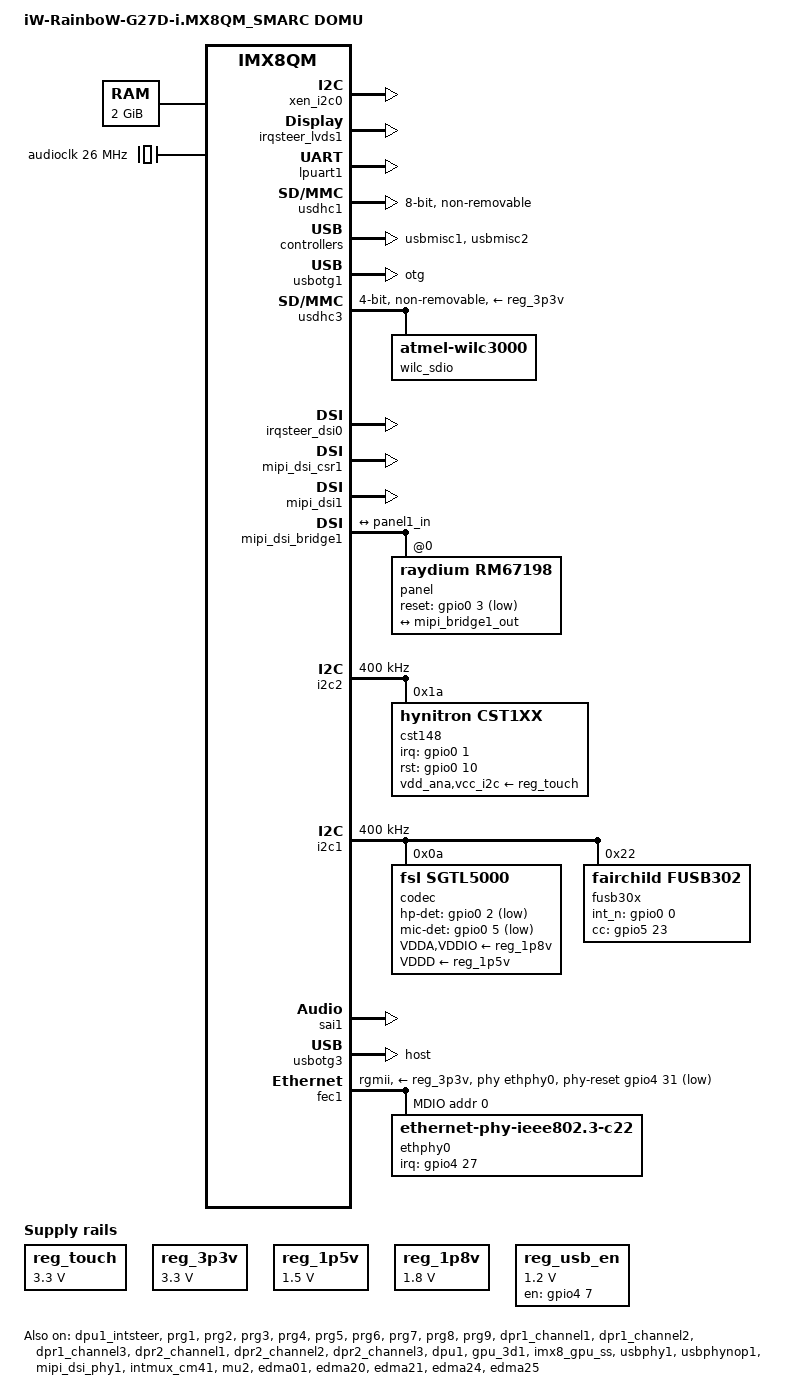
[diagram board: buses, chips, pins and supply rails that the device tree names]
/*
 * Copyright 2018 NXP
 *
 * This program is free software; you can redistribute it and/or
 * modify it under the terms of the GNU General Public License
 * as published by the Free Software Foundation; either version 2
 * of the License, or (at your option) any later version.
 *
 * This program is distributed in the hope that it will be useful,
 * but WITHOUT ANY WARRANTY; without even the implied warranty of
 * MERCHANTABILITY or FITNESS FOR A PARTICULAR PURPOSE.  See the
 * GNU General Public License for more details.
 */

/dts-v1/;
#include <dt-bindings/interrupt-controller/arm-gic.h>
#include <dt-bindings/clock/imx8qm-clock.h>
#include <dt-bindings/input/input.h>
#include <dt-bindings/soc/imx_rsrc.h>
#include <dt-bindings/soc/imx8_hsio.h>
#include <dt-bindings/soc/imx8_pd.h>
#include <dt-bindings/pinctrl/pads-imx8qm.h>
#include <dt-bindings/gpio/gpio.h>
#include <dt-bindings/thermal/thermal.h>

/ {
	model = "iW-RainboW-G27D-i.MX8QM_SMARC DOMU";
	compatible = "fsl,imx8qm-iwg27m", "fsl,imx8qm", "xen,xenvm-4.10", "xen,xenvm";
	interrupt-parent = <&gic>;
	#address-cells = <0x2>;
	#size-cells = <0x2>;

	/delete-node/ aliases;

	aliases {
		mmc0 = &usdhc1;
		mmc2 = &usdhc3;
		dpu0 = &dpu1;
		dpu1 = &dpu2;
		ethernet0 = &fec1;
		dsi_phy0 = &mipi_dsi_phy1;
		mipi_dsi0 = &mipi_dsi1;
		ldb0 = &ldb1;
		ldb1 = &ldb2;
		usbphy0 = &usbphy1;
		serial1 = &lpuart1;
	};

	cpus {
		#address-cells = <0x2>;
		#size-cells = <0x0>;

		cpu@0 {
			device_type = "cpu";
			compatible = "arm,armv8";
			enable-method = "psci";
			reg = <0x0 0x0>;
		};

		cpu@1 {
			device_type = "cpu";
			compatible = "arm,armv8";
			enable-method = "psci";
			reg = <0x0 0x1>;
		};
                cpu@2 {
                        device_type = "cpu";
                        compatible = "arm,armv8";
                        enable-method = "psci";
                        reg = <0x0 0x2>;
                };

                cpu@3 {
                        device_type = "cpu";
                        compatible = "arm,armv8";
                        enable-method = "psci";
                        reg = <0x0 0x3>;
                };
	};

	psci {
		compatible = "arm,psci-1.0";
		method = "hvc";
	};

	memory@80000000 {
		device_type = "memory";
		/* Will be updated by U-Boot or XEN TOOL */
		reg = <0x00000000 0x80000000 0 0x80000000>;
	};

	/*
	 * The reserved memory will be used when using U-Boot loading android
	 * image. For booting kernel using xl tool, pass args:
	 * cma=960M@2400M-3584M
	 * For the rpmsg_reserved area, need xl tool to create for non-android.
	 */
	reserved-memory {
		#address-cells = <2>;
		#size-cells = <2>;
		ranges;
		passthrough;

		/*
		 * reserved-memory layout
		 * 0x8800_0000 ~ 0x8FFF_FFFF is reserved for M4
		 * Shouldn't be used at A core and Linux side.
		 *
		 */

		rpmsg_reserved: rpmsg@0x90100000 {
			no-map;
			reg = <0 0x90100000 0 0x10000>;
		};

		/* global autoconfigured region for contiguous allocations */
		linux,cma {
			compatible = "shared-dma-pool";
			reusable;
			size = <0 0x3c000000>;
			alloc-ranges = <0 0x96000000 0 0x3c000000>;
			linux,cma-default;
		};
	};

	gic: interrupt-controller@3001000 {
		compatible = "arm,gic-v3";
		#interrupt-cells = <3>;
		#address-cells = <0x0>;
		interrupt-controller;
		redistributor-stride = <0x20000>;
		#redistributor-regions = <0x1>;
		reg = <0x0 0x3001000 0 0x10000>, /* GIC Dist */
		      <0x0 0x3020000 0 0x1000000>; /* GICR */
		interrupts = <GIC_PPI 9 (GIC_CPU_MASK_SIMPLE(6) | IRQ_TYPE_LEVEL_HIGH)>;
		interrupt-parent = <&gic>;
		linux,phandle = <0xfde8>;
		phandle = <0xfde8>;
	};

	timer {
		compatible = "arm,armv8-timer";
		interrupts = <GIC_PPI 13 (GIC_CPU_MASK_SIMPLE(6) | IRQ_TYPE_LEVEL_LOW)>,
			     <GIC_PPI 14 (GIC_CPU_MASK_SIMPLE(6) | IRQ_TYPE_LEVEL_LOW)>,
			     <GIC_PPI 11 (GIC_CPU_MASK_SIMPLE(6) | IRQ_TYPE_LEVEL_LOW)>;
		interrupt-parent = <&gic>;
		clock-frequency = <8000000>;
	};

	hypervisor {
		compatible = "xen,xen-4.11", "xen,xen";
		reg = <0x0 0x38000000 0x0 0x1000000>;
		interrupts = <GIC_PPI 15 (GIC_CPU_MASK_SIMPLE(6) | IRQ_TYPE_LEVEL_LOW)>;
		interrupt-parent = <&gic>;
	};

	passthrough {
		compatible = "simple-bus";
		ranges;
		#address-cells = <2>;
		#size-cells = <2>;

		firmware {
			android {
				compatible = "android,firmware";
				fstab {
					compatible = "android,fstab";
					vendor {
						compatible = "android,vendor";
						/* emmc node which used if androidboot.storage_type=emmc */
						dev_emmc = "/dev/block/platform/passthrough/15b010000.usdhc/by-name/vendor";
						type = "ext4";
						mnt_flags = "ro,barrier=1,inode_readahead_blks=8";
						fsmgr_flags = "wait,slotselect,avb";
					};
				};

				vbmeta {
					/*we need use FirstStageMountVBootV2 if we enable avb*/
					compatible = "android,vbmeta";
					/*parts means the partition witch can be mount in first stage*/
					parts = "vbmeta,boot,system,vendor";
				};
			};
		};

		clk: clk {
			compatible = "fsl,imx8qm-clk";
			#clock-cells = <1>;
			fsl,lpcg_base_offset = <0x00000000 0x00000000>;
		};

		iomuxc: iomuxc {
			compatible = "fsl,imx8qm-iomuxc";
		};

	        clocks {
	                #address-cells = <1>;
	                #size-cells = <0>;
		        audioclk: ext26Mz {
		                compatible = "fixed-clock";
		                clock-frequency = <26000000>;
		                reg=<0>;
		                #clock-cells = <0>;
        	        };
	        };

	        regulators {
	                compatible = "simple-bus";
	                #address-cells = <1>;
	                #size-cells = <0>;

	                reg_touch: regulator@0 {
	                        compatible = "regulator-fixed";
	                        reg = <2>;
	                        regulator-name = "touch-en";
	                        regulator-min-microvolt = <3300000>;
	                        regulator-max-microvolt = <3300000>;
	                        regulator-always-on;
	                };

	                reg_3p3v: 3p3v {
	                        compatible = "regulator-fixed";
	                        regulator-name = "3P3V";
	                        regulator-min-microvolt = <3300000>;
	                        regulator-max-microvolt = <3300000>;
	                        regulator-always-on;
	                        regulator-boot-on;
	                };

	                reg_1p5v: 1p5v {
	                        compatible = "regulator-fixed";
	                        regulator-name = "1P5V";
	                        regulator-min-microvolt = <1500000>;
	                        regulator-max-microvolt = <1500000>;
	                        regulator-always-on;
	                };

	                reg_1p8v: 1p8v {
	                        compatible = "regulator-fixed";
	                        regulator-name = "1P8V";
	                        regulator-min-microvolt = <1800000>;
	                        regulator-max-microvolt = <1800000>;
	                        regulator-always-on;
	                };

	                reg_usb_en: regulator-usb-en {
	                        compatible = "regulator-fixed";
	                        regulator-name = "usb_en";
	                        regulator-min-microvolt = <1200000>;
	                        regulator-max-microvolt = <1200000>;
	                        regulator-type = "voltage";
	                        gpio = <&gpio4 7 GPIO_ACTIVE_HIGH>;
	                        enable-active-high;
	                };

	        };

	        sound {
	                compatible = "fsl,imx-audio-sgtl5000";
	                model = "sgtl5000-audio";
	                ssi-controller = <&sai1>;
	                audio-codec = <&codec>;
	                audio-routing = "MIC_IN", "Mic Jack",
	                                "Mic Jack", "Mic Bias",
	                                "Headphone Jack", "HP_OUT",
	                                "LINE_IN", "Line In Jack";
	        };


		#include "fsl-imx8qm-device.dtsi"

		mu2: mu@5d1d0000 {
			compatible = "fsl,imx8-mu";
			reg = <0x0 0x5d1d0000 0x0 0x10000>;
			interrupts = <GIC_SPI 178 IRQ_TYPE_LEVEL_HIGH>;
			fsl,scu_ap_mu_id = <0>;
			status = "okay";
		};

		usb_lpcg {
			reg = <0x0 0x5b270000 0x0 0x10000>;
		};

                edma01: dma-controller1@5a1f0000 {
                        compatible = "fsl,imx8qm-edma";
                        reg = <0x0 0x5a2e0000 0x0 0x10000>, /* channel14 UART1 rx */
                              <0x0 0x5a2f0000 0x0 0x10000>; /* channel15 UART1 tx */
                        #dma-cells = <3>;
                        dma-channels = <2>;
                        interrupts = <GIC_SPI 436 IRQ_TYPE_LEVEL_HIGH>,
                                     <GIC_SPI 437 IRQ_TYPE_LEVEL_HIGH>;
                        interrupt-names = "edma0-chan14-rx", "edma0-chan15-tx";
                        status = "okay";
                };

                edma20: dma-controller@591f0000 {
                        compatible = "fsl,imx8qm-adma";
                        reg = <0x0 0x59200000 0x0 0x10000>, /* asrc0 */
                                <0x0 0x59210000 0x0 0x10000>,
                                <0x0 0x59220000 0x0 0x10000>,
                                <0x0 0x59230000 0x0 0x10000>,
                                <0x0 0x59240000 0x0 0x10000>,
                                <0x0 0x59250000 0x0 0x10000>;
                        #dma-cells = <3>;
                        shared-interrupt;
                        dma-channels = <6>;
                        interrupts = <GIC_SPI 374 IRQ_TYPE_LEVEL_HIGH>, /* asrc0 */
                                        <GIC_SPI 375 IRQ_TYPE_LEVEL_HIGH>,
                                        <GIC_SPI 376 IRQ_TYPE_LEVEL_HIGH>,
                                        <GIC_SPI 377 IRQ_TYPE_LEVEL_HIGH>,
                                        <GIC_SPI 378 IRQ_TYPE_LEVEL_HIGH>,
                                        <GIC_SPI 379 IRQ_TYPE_LEVEL_HIGH>;
                        interrupt-names = "edma2-chan0-rx", "edma2-chan1-rx", /* asrc0 */
                                        "edma2-chan2-rx", "edma2-chan3-tx",
                                        "edma2-chan4-tx", "edma2-chan5-tx";
                        status = "okay";
                };

                edma21: dma-controller@0x59260000 {
                        compatible = "fsl,imx8qm-adma";
                        reg = <0x0 0x59260000 0x0 0x10000>, /* esai0 rx */
                              <0x0 0x59270000 0x0 0x10000>; /* esai0 tx */
                        #dma-cells = <3>;
                        shared-interrupt;
                        dma-channels = <2>;
                        interrupts = <GIC_SPI 410 IRQ_TYPE_LEVEL_HIGH>, /* esai0 */
                                     <GIC_SPI 410 IRQ_TYPE_LEVEL_HIGH>;
                        interrupt-names = "edma2-chan6-rx", "edma2-chan7-tx"; /* esai0 */
                        status = "okay";
                };

                edma24: dma-controller@0x592c0000 {
                        compatible = "fsl,imx8qm-adma";
                        reg = <0x0 0x592c0000 0x0 0x10000>, /* sai0 rx */
                              <0x0 0x592d0000 0x0 0x10000>; /* sai0 tx */
                        #dma-cells = <3>;
                        shared-interrupt;
                        dma-channels = <2>;
                        interrupts = <GIC_SPI 315 IRQ_TYPE_LEVEL_HIGH>, /* sai0 */
                                     <GIC_SPI 315 IRQ_TYPE_LEVEL_HIGH>;
                        interrupt-names = "edma2-chan12-rx", "edma2-chan13-tx"; /* sai0 */
                        fsl,sc_rsrc_id = <SC_R_DMA_2_CH12>,
                                         <SC_R_DMA_2_CH13>;
                        status = "okay";
                };

	        edma25: dma-controller@0x592e0000 {
	                compatible = "fsl,imx8qm-adma";
	                reg = <0x0 0x592e0000 0x0 0x10000>, /* sai1 rx */
	                      <0x0 0x592f0000 0x0 0x10000>; /* sai1 tx */
	                #dma-cells = <3>;
	                shared-interrupt;
	                dma-channels = <2>;
	                interrupts = <GIC_SPI 317 IRQ_TYPE_LEVEL_HIGH>, /* sai1 */
	                             <GIC_SPI 317 IRQ_TYPE_LEVEL_HIGH>;
	                interrupt-names = "edma2-chan14-rx", "edma2-chan15-tx"; /* sai1 */
	                fsl,sc_rsrc_id = <SC_R_DMA_2_CH14>,
	                                 <SC_R_DMA_2_CH15>;
	                status = "okay";
	        };

                xen_i2c0: xen_i2c@0 {
                        compatible = "xen,i2c";
                        be-adapter = "5a800000.i2c";
                        status = "okay";
                };
/*
                xen_i2c1: xen_i2c@1 {
                        compatible = "xen,i2c";
                        be-adapter = "5a810000.i2c";
                        status = "okay";
                };

                xen_i2c2: xen_i2c@2 {
                        compatible = "xen,i2c";
                        be-adapter = "5a820000.i2c";
                        status = "okay";
                };
*/

	};
};

/delete-node/ &tsens;
/delete-node/ &thermal_zones;
/delete-node/ &rtc;

&display {
	ports = <&dpu1_disp0>, <&dpu1_disp1>;
};

&dpu1_intsteer {
        reg = <0x0 0x56000000 0x0 0x10000>;
        status = "okay";
};

&prg1 {
        reg = <0x0 0x56040000 0x0 0x10000>;
        status = "okay";
};

&prg2 {
        reg = <0x0 0x56050000 0x0 0x10000>;
        status = "okay";
};

&prg3 {
        reg = <0x0 0x56060000 0x0 0x10000>;
        status = "okay";
};

&prg4 {
        reg = <0x0 0x56070000 0x0 0x10000>;
        status = "okay";
};

&prg5 {
        reg = <0x0 0x56080000 0x0 0x10000>;
        status = "okay";
};

&prg6 {
        reg = <0x0 0x56090000 0x0 0x10000>;
        status = "okay";
};

&prg7 {
        reg = <0x0 0x560a0000 0x0 0x10000>;
        status = "okay";
};

&prg8 {
        reg = <0x0 0x560b0000 0x0 0x10000>;
        status = "okay";
};

&prg9 {
        reg = <0x0 0x560c0000 0x0 0x10000>;
        status = "okay";
};

&dpr1_channel1 {
        reg = <0x0 0x560d0000 0x0 0x10000>;
        status = "okay";
};

&dpr1_channel2 {
        reg = <0x0 0x560e0000 0x0 0x10000>;
        status = "okay";
};

&dpr1_channel3 {
        reg = <0x0 0x560f0000 0x0 0x10000>;
        status = "okay";
};

&dpr2_channel1 {
        reg = <0x0 0x56100000 0x0 0x10000>;
        status = "okay";
};

&dpr2_channel2 {
        reg = <0x0 0x56110000 0x0 0x10000>;
        status = "okay";
};

&dpr2_channel3 {
        reg = <0x0 0x56120000 0x0 0x10000>;
        status = "okay";
};

&dpu1 {
        reg = <0x0 0x56180000 0x0 0x40000>;
        status = "okay";

        dpu1_disp0: port@0 {

		dpu1_disp0_hdmi: hdmi-endpoint {
			/delete-property/ remote-endpoint;
		};

        };
        dpu1_disp1: port@1 {
                reg = <1>;

                dpu1_disp1_lvds0: lvds0-endpoint {
                        remote-endpoint = <&ldb1_lvds0>;
                };

                dpu1_disp1_lvds1: lvds1-endpoint {
                        remote-endpoint = <&ldb1_lvds1>;
                };
        };
};

&dpu2_intsteer {
	reg = <0x0 0x57000000 0x0 0x10000>;
	status = "disabled";
};

&prg10 {
	reg = <0x0 0x57040000 0x0 0x10000>;
	status = "disabled";
};

&prg11 {
	reg = <0x0 0x57050000 0x0 0x10000>;
	status = "disabled";
};

&prg12 {
	reg = <0x0 0x57060000 0x0 0x10000>;
	status = "disabled";
};

&prg13 {
	reg = <0x0 0x57070000 0x0 0x10000>;
	status = "disabled";
};

&prg14 {
	reg = <0x0 0x57080000 0x0 0x10000>;
	status = "disabled";
};

&prg15 {
	reg = <0x0 0x57090000 0x0 0x10000>;
	status = "disabled";
};

&prg16 {
	reg = <0x0 0x570a0000 0x0 0x10000>;
	status = "disabled";
};

&prg17 {
	reg = <0x0 0x570b0000 0x0 0x10000>;
	status = "disabled";
};

&prg18 {
	reg = <0x0 0x570c0000 0x0 0x10000>;
	status = "disabled";
};

&dpr3_channel1 {
	reg = <0x0 0x570d0000 0x0 0x10000>;
	status = "disabled";
};

&dpr3_channel2 {
	reg = <0x0 0x570e0000 0x0 0x10000>;
	status = "disabled";
};

&dpr3_channel3 {
	reg = <0x0 0x570f0000 0x0 0x10000>;
	status = "disabled";
};

&dpr4_channel1 {
	reg = <0x0 0x57100000 0x0 0x10000>;
	status = "disabled";
};

&dpr4_channel2 {
	reg = <0x0 0x57110000 0x0 0x10000>;
	status = "disabled";
};

&dpr4_channel3 {
	reg = <0x0 0x57120000 0x0 0x10000>;
	status = "disabled";
};

&dpu2 {
	reg = <0x0 0x57180000 0x0 0x40000>;
	status = "disabled";

	dpu2_disp0: port@0 {
		dpu2_disp0_mipi_dsi: mipi-dsi-endpoint {
			/delete-property/ remote-endpoint;
		};
	};
	dpu2_disp1: port@1 {
		reg = <1>;

		dpu2_disp1_lvds0: lvds0-endpoint {
			remote-endpoint = <&ldb2_lvds0>;
		};

		dpu2_disp1_lvds1: lvds1-endpoint {
			remote-endpoint = <&ldb2_lvds1>;
		};
	};
};

/*
/delete-node/ &hdmi;
/delete-node/ &irqsteer_dsi0;
/delete-node/ &i2c0_mipi_dsi0;
*/

&lvds_region1 {
        reg = <0x0 0x56240000 0x0 0x10000>;
        status = "disabled";
};

&ldb1_phy {
        reg = <0x0 0x56241000 0x0 0x100>;
        status = "disabled";
};

&ldb1 {
        status = "disabled";

        lvds-channel@0 {
                fsl,data-mapping = "jeida";
                fsl,data-width = <24>;
                status = "okay";

                port@1 {
                        reg = <1>;

                        lvds1_out: endpoint {
                                remote-endpoint = <&it6263_1_in>;
                        };
                };
        };
};

&lvds_region2 {
	reg = <0x0 0x57240000 0x0 0x10000>;
	status = "disabled";
};

&ldb2_phy {
	reg = <0x0 0x57241000 0x0 0x100>;
	status = "disabled";
};

&ldb2 {
	status = "disabled";

	lvds-channel@0 {
		fsl,data-mapping = "jeida";
		fsl,data-width = <24>;
		status = "okay";

		port@1 {
			reg = <1>;

			lvds2_out: endpoint {
				remote-endpoint = <&it6263_1_in>;
			};
		};
	};
};

/*
/delete-node/ &lvds0_pwm;
/delete-node/ &dpu1_intsteer;
/delete-node/ &prg1;
/delete-node/ &prg2;
/delete-node/ &prg3;
/delete-node/ &prg4;
/delete-node/ &prg5;
/delete-node/ &prg6;
/delete-node/ &prg7;
/delete-node/ &prg8;
/delete-node/ &prg9;
/delete-node/ &dpr1_channel1;
/delete-node/ &dpr1_channel2;
/delete-node/ &dpr1_channel3;
/delete-node/ &dpr2_channel1;
/delete-node/ &dpr2_channel2;
/delete-node/ &dpr2_channel3;
/delete-node/ &dpu1;
*/

/delete-node/ &irqsteer_dsi1;
/delete-node/ &i2c0_mipi_dsi1;
/delete-node/ &mipi_dsi_csr2;
/delete-node/ &mipi_dsi_phy2;
/delete-node/ &mipi_dsi2;
/delete-node/ &mipi_dsi_bridge2;
/* /delete-node/ &lvds_region1;
/delete-node/ &lvds1_pwm;
*/

/delete-node/ &camera;
/delete-node/ &i2c0;
/* /delete-node/ &i2c1;*/
/* /delete-node/ &i2c2;*/
/delete-node/ &i2c3;
/delete-node/ &i2c4;
/delete-node/ &i2c0_cm40;
/delete-node/ &i2c0_cm41;
/* /delete-node/ &irqsteer_hdmi;*/
/delete-node/ &i2c0_hdmi;

&irqsteer_lvds1 {
	reg = <0x0 0x57240000 0x0 0x1000>;
	/delete-property/ interrupt-parent;
	status = "okay";
};

/delete-node/ &flexcan1;
/delete-node/ &flexcan2;
/delete-node/ &flexcan3;

&i2c1_lvds1 {
	reg = <0x0 0x57247000 0x0 0x1000>;
	status = "disabled";
};

/delete-node/ &irqsteer_lvds0;
/delete-node/ &i2c1_lvds0;
/delete-node/ &irqsteer_csi0;
/delete-node/ &i2c0_mipi_csi0;
/delete-node/ &irqsteer_csi1;
/delete-node/ &i2c0_mipi_csi1;
/delete-node/ &lpspi0;
/delete-node/ &lpuart0;

&lpuart1 { /* BT */
	reg = <0x0 0x5a070000 0 0x1000>;
	dmas = <&edma01 15 0 0>, <&edma01 14 0 1>;
	interrupt-parent = <&gic>;
        pinctrl-names = "default";
        pinctrl-0 = <&pinctrl_lpuart1>;
        device_type = "serial";
        port-number = <1>;
        status = "okay";
};


/delete-node/ &lpuart2;
/delete-node/ &lpuart3;
/delete-node/ &lpuart4;
/delete-node/ &edma0;
/delete-node/ &edma2;
/delete-node/ &edma3;

&gpio0 {
	/delete-property/ power-domains;
	status = "okay";
};
&gpio1 {
	/delete-property/ power-domains;
	status = "okay";
};
&gpio2 {
	/delete-property/ power-domains;
	status = "okay";
};
&gpio3 {
	/delete-property/ power-domains;
	status = "disabled";
};
&gpio4 {
	/delete-property/ power-domains;
	status = "okay";
};
&gpio5 {
	/delete-property/ power-domains;
	status = "okay";
};
&gpio6 {
	/delete-property/ power-domains;
	status = "disabled";
};
&gpio7 {
	/delete-property/ power-domains;
	status = "disabled";
};

/delete-node/ &gpio0_mipi_csi0;
/delete-node/ &gpio0_mipi_csi1;
/delete-node/ &gpt0;
/delete-node/ &pwm0;
/delete-node/ &pwm1;
/delete-node/ &pwm2;
/delete-node/ &pwm3;
/delete-node/ &pwm4;
/delete-node/ &pwm5;
/delete-node/ &pwm6;
/delete-node/ &pwm7;

&gpu_3d1 {
	reg = <0x0 0x54100000 0 0x40000>;
	status = "okay";
};

/delete-node/ &gpu_3d0;

&imx8_gpu_ss {
	/* xen guests have 2GB of low RAM @ 2GB */
	reg = <0x0 0x80000000 0x0 0x80000000>;
	reg-names = "phys_baseaddr";
	cores = <&gpu_3d1>;
	status = "okay";
};

/delete-node/ &mlb;

&usdhc1 {
	compatible = "fsl,imx8qm-usdhc", "fsl,imx6sl-usdhc";
	/*interrupt-parent = <&gic>;*/
	/delete-property/ interrupt-parent;
	reg = <0x0 0x5b010000 0x0 0x10000>;
};

/delete-node/ &usdhc2;
/delete-node/ &fec2;

&usbmisc1 {
	reg = <0x0 0x5b0d0200 0x0 0x200>;
	status = "okay";
};

&usbmisc2 {
	reg = <0x0 0x5b0e0200 0x0 0x200>;
	status = "okay";
};

&usbphy1 {
	reg = <0x0 0x5b100000 0x0 0x200>;
	status = "okay";
};

/delete-node/ &usbh1;

&usbphynop1 {
        status = "okay";
};

/delete-node/ &usbphynop2;

&usbotg1 {
	reg = <0x0 0x5b0d0000 0x0 0x200>;
	interrupt-parent = <&gic>;
};

/delete-node/ &ddr_pmu0;
/delete-node/ &ddr_pmu1;
/delete-node/ &vpu;
/delete-node/ &acm;

&esai0 {
        compatible = "fsl,imx8qm-esai";
        reg = <0x0 0x59010000 0x0 0x10000>;
        interrupts = <GIC_SPI 409 IRQ_TYPE_LEVEL_HIGH>;
        clocks = <&clk IMX8QM_AUD_ESAI_0_IPG>,
                 <&clk IMX8QM_AUD_ESAI_0_EXTAL_IPG>,
                 <&clk IMX8QM_AUD_ESAI_0_IPG>,
                 <&clk IMX8QM_CLK_DUMMY>;
        clock-names = "core", "extal", "fsys", "spba";
        dmas = <&edma21 6 0 1>, <&edma21 7 0 0>;
        dma-names = "rx", "tx";
        power-domains = <&pd_esai0>;
        status = "disabled";
};


/delete-node/ &spdif0;
/* /delete-node/ &sai1;*/
/delete-node/ &sai0;
/delete-node/ &sai_hdmi_rx;
/delete-node/ &sai_hdmi_tx;
/delete-node/ &sai6;
/delete-node/ &sai7;
/delete-node/ &amix;
/delete-node/ &asrc0;
/delete-node/ &asrc1;
/delete-node/ &mqs;
/delete-node/ &flexspi0;

&dma_cap {
	compatible = "dma-capability";
	only-dma-mask32 = <1>;
};

/delete-node/ &hsio;
/delete-node/ &ocotp;
/delete-node/ &pciea;
/delete-node/ &pcieb;
/delete-node/ &sata;

/delete-node/ &intmux_cm40;
/delete-node/ &mu_rpmsg;
/*
/delete-node/ &intmux_cm41;
*/
&rpmsg1{
	/*
	 * 64K for one rpmsg instance:
	 */
	vdev-nums = <1>;
	reg = <0x0 0x90100000 0x0 0x10000>;
	status = "disabled";
};

&mu_rpmsg1 {
	reg = <0x0 0x5d210000 0x0 0x10000>;
};

/delete-node/ &crypto;
/delete-node/ &caam_sm;
/delete-node/ &sc_pwrkey;
/delete-node/ &wdog;
/delete-node/ &wu;

&iomuxc {
	imx8qm-iwg27m {
		pinctrl_usdhc1: usdhc1grp {
			fsl,pins = <
				SC_P_EMMC0_CLK_CONN_EMMC0_CLK		0x06000041
				SC_P_EMMC0_CMD_CONN_EMMC0_CMD		0x00000021
				SC_P_EMMC0_DATA0_CONN_EMMC0_DATA0	0x00000021
				SC_P_EMMC0_DATA1_CONN_EMMC0_DATA1	0x00000021
				SC_P_EMMC0_DATA2_CONN_EMMC0_DATA2	0x00000021
				SC_P_EMMC0_DATA3_CONN_EMMC0_DATA3	0x00000021
				SC_P_EMMC0_DATA4_CONN_EMMC0_DATA4	0x00000021
				SC_P_EMMC0_DATA5_CONN_EMMC0_DATA5	0x00000021
				SC_P_EMMC0_DATA6_CONN_EMMC0_DATA6	0x00000021
				SC_P_EMMC0_DATA7_CONN_EMMC0_DATA7	0x00000021
				SC_P_EMMC0_STROBE_CONN_EMMC0_STROBE	0x06000041
				SC_P_EMMC0_RESET_B_CONN_EMMC0_RESET_B	0x00000021
			>;
		};

		pinctrl_usdhc1_100mhz: usdhc1grp100mhz {
			fsl,pins = <
				SC_P_EMMC0_CLK_CONN_EMMC0_CLK		0x06000040
				SC_P_EMMC0_CMD_CONN_EMMC0_CMD		0x00000020
				SC_P_EMMC0_DATA0_CONN_EMMC0_DATA0	0x00000020
				SC_P_EMMC0_DATA1_CONN_EMMC0_DATA1	0x00000020
				SC_P_EMMC0_DATA2_CONN_EMMC0_DATA2	0x00000020
				SC_P_EMMC0_DATA3_CONN_EMMC0_DATA3	0x00000020
				SC_P_EMMC0_DATA4_CONN_EMMC0_DATA4	0x00000020
				SC_P_EMMC0_DATA5_CONN_EMMC0_DATA5	0x00000020
				SC_P_EMMC0_DATA6_CONN_EMMC0_DATA6	0x00000020
				SC_P_EMMC0_DATA7_CONN_EMMC0_DATA7	0x00000020
				SC_P_EMMC0_STROBE_CONN_EMMC0_STROBE	0x06000040
				SC_P_EMMC0_RESET_B_CONN_EMMC0_RESET_B	0x00000020
			>;
		};

		pinctrl_usdhc1_200mhz: usdhc1grp200mhz {
			fsl,pins = <
				SC_P_EMMC0_CLK_CONN_EMMC0_CLK		0x06000040
				SC_P_EMMC0_CMD_CONN_EMMC0_CMD		0x00000020
				SC_P_EMMC0_DATA0_CONN_EMMC0_DATA0	0x00000020
				SC_P_EMMC0_DATA1_CONN_EMMC0_DATA1	0x00000020
				SC_P_EMMC0_DATA2_CONN_EMMC0_DATA2	0x00000020
				SC_P_EMMC0_DATA3_CONN_EMMC0_DATA3	0x00000020
				SC_P_EMMC0_DATA4_CONN_EMMC0_DATA4	0x00000020
				SC_P_EMMC0_DATA5_CONN_EMMC0_DATA5	0x00000020
				SC_P_EMMC0_DATA6_CONN_EMMC0_DATA6	0x00000020
				SC_P_EMMC0_DATA7_CONN_EMMC0_DATA7	0x00000020
				SC_P_EMMC0_STROBE_CONN_EMMC0_STROBE	0x06000040
				SC_P_EMMC0_RESET_B_CONN_EMMC0_RESET_B	0x00000020
			>;
		};

                pinctrl_usbotg1: usbotg1 {
                        fsl,pins = <
                                SC_P_USB_SS3_TC0_LSIO_GPIO4_IO03                0x00000021
                        >;
                };

                pinctrl_usbotg3: usbotg3 {
                        fsl,pins = <
                                SC_P_USDHC1_RESET_B_LSIO_GPIO4_IO07             0x00000021
                                SC_P_MIPI_DSI1_I2C0_SDA_LSIO_GPIO1_IO21         0x00000021

                        >;
                };

                pinctrl_type_c: usbtypec {
                        fsl,pins = <
                                SC_P_SIM0_CLK_LSIO_GPIO0_IO00                   0x00000021
                                SC_P_USDHC1_STROBE_LSIO_GPIO5_IO23              0x00000021
                        >;
                };

		pinctrl_lvds1_lpi2c1: lvds1lpi2c1grp {
			fsl,pins = <
				SC_P_LVDS1_I2C1_SCL_LVDS1_I2C1_SCL	0xc600004c
				SC_P_LVDS1_I2C1_SDA_LVDS1_I2C1_SDA	0xc600004c
			>;
		};

                pinctrl_lpuart1: lpuart1grp {
                        fsl,pins = <
                                SC_P_UART1_RX_DMA_UART1_RX                      0x06000020
                                SC_P_UART1_TX_DMA_UART1_TX                      0x06000020
                                SC_P_UART1_CTS_B_DMA_UART1_CTS_B                0x06000020
                                SC_P_UART1_RTS_B_DMA_UART1_RTS_B                0x06000020
                        >;
                };

                pinctrl_mipi_dsi: mipidsi {
                        fsl,pins = <
                                SC_P_SIM0_PD_LSIO_GPIO0_IO03                    0x00000021
                        >;
                };

                pinctrl_ts_active_iwg27m: touch {
                        fsl,pins = <
                                SC_P_SIM0_RST_LSIO_GPIO0_IO01                   0x00000021
                                SC_P_M41_I2C0_SCL_LSIO_GPIO0_IO10               0x18300021
                        >;
                };

                pinctrl_sai1: sai1grp {
                        fsl,pins = <
                                SC_P_SAI1_RXD_AUD_SAI1_RXD                      0xc600004c
                                SC_P_SAI1_TXC_AUD_SAI1_TXC                      0xc600004c
                                SC_P_SAI1_TXD_AUD_SAI1_TXD                      0xc600004c
                                SC_P_SAI1_TXFS_AUD_SAI1_TXFS                    0xc600004c
                                SC_P_MCLK_OUT0_AUD_ACM_MCLK_OUT0                0xc600004c
                        >;
                };

                pinctrl_hp_mic_detect: hp_mic_detect {
                        fsl,pins = <
                                SC_P_SIM0_IO_LSIO_GPIO0_IO02                    0x00000021
                                SC_P_SIM0_GPIO0_00_LSIO_GPIO0_IO05              0x00000021
                        >;
                };

                pinctrl_lpi2c1: lpi2c1grp {
                        fsl,pins = <
                                SC_P_GPT0_CLK_DMA_I2C1_SCL                      0xc600004c
                                SC_P_GPT0_CAPTURE_DMA_I2C1_SDA                  0xc600004c
                        >;
                };

                pinctrl_lpi2c2: lpi2c2grp {
                        fsl,pins = <
                                SC_P_GPT1_CLK_DMA_I2C2_SCL                      0xc600004c
                                SC_P_GPT1_CAPTURE_DMA_I2C2_SDA                  0xc600004c
                        >;
                };

                pinctrl_usdhc2_200mhz: usdhc2grp200mhz {
                        fsl,pins = <
                                SC_P_USDHC1_CLK_CONN_USDHC1_CLK                 0x06000040
                                SC_P_USDHC1_CMD_CONN_USDHC1_CMD                 0x00000020
                                SC_P_USDHC1_DATA0_CONN_USDHC1_DATA0             0x00000020
                                SC_P_USDHC1_DATA1_CONN_USDHC1_DATA1             0x00000020
                                SC_P_USDHC1_DATA2_CONN_USDHC1_DATA2             0x00000020
                                SC_P_USDHC1_DATA3_CONN_USDHC1_DATA3             0x00000020
                                SC_P_USDHC2_VSELECT_CONN_USDHC2_VSELECT         0x00000020
                        >;
                };

                pinctrl_usdhc3: usdhc3grp {
                        fsl,pins = <
                                SC_P_USDHC2_CLK_CONN_USDHC2_CLK                 0x06000041
                                SC_P_USDHC2_CMD_CONN_USDHC2_CMD                 0x00000021
                                SC_P_USDHC2_DATA0_CONN_USDHC2_DATA0             0x00000021
                                SC_P_USDHC2_DATA1_CONN_USDHC2_DATA1             0x00000021
                                SC_P_USDHC2_DATA2_CONN_USDHC2_DATA2             0x00000021
                                SC_P_USDHC2_DATA3_CONN_USDHC2_DATA3             0x00000021
                                SC_P_USDHC1_VSELECT_CONN_USDHC1_VSELECT         0x00000021
                        >;
                };

                pinctrl_usdhc3_100mhz: usdhc3grp100mhz {
                        fsl,pins = <
                                SC_P_USDHC2_CLK_CONN_USDHC2_CLK                 0x06000040
                                SC_P_USDHC2_CMD_CONN_USDHC2_CMD                 0x00000020
                                SC_P_USDHC2_DATA0_CONN_USDHC2_DATA0             0x00000020
                                SC_P_USDHC2_DATA1_CONN_USDHC2_DATA1             0x00000020
                                SC_P_USDHC2_DATA2_CONN_USDHC2_DATA2             0x00000020
                                SC_P_USDHC2_DATA3_CONN_USDHC2_DATA3             0x00000020
                                SC_P_USDHC1_VSELECT_CONN_USDHC1_VSELECT         0x00000020
                        >;
                };

                pinctrl_usdhc3_200mhz: usdhc3grp200mhz {
                        fsl,pins = <
                                SC_P_USDHC2_CLK_CONN_USDHC2_CLK                 0x06000040
                                SC_P_USDHC2_CMD_CONN_USDHC2_CMD                 0x00000020
                                SC_P_USDHC2_DATA0_CONN_USDHC2_DATA0             0x00000020
                                SC_P_USDHC2_DATA1_CONN_USDHC2_DATA1             0x00000020
                                SC_P_USDHC2_DATA2_CONN_USDHC2_DATA2             0x00000020
                                SC_P_USDHC2_DATA3_CONN_USDHC2_DATA3             0x00000020
                                SC_P_USDHC1_VSELECT_CONN_USDHC1_VSELECT         0x00000020
                        >;
                };

                pinctrl_usdhc3_gpio: usdhc3grpgpio {
                        fsl,pins = <
                                SC_P_ESAI0_TX2_RX3_LSIO_GPIO2_IO28              0x00000021 /* WIFI IRQ */
                                SC_P_ESAI0_TX3_RX2_LSIO_GPIO2_IO29              0x00000021 /* WIFI RST */
                                SC_P_ESAI0_TX4_RX1_LSIO_GPIO2_IO30              0x00000021 /* WIFI CHIP_EN */
                        >;
                };

                pinctrl_fec1: fec1grp {
                        fsl,pins = <
                                SC_P_ENET0_MDC_CONN_ENET0_MDC                   0x06000020
                                SC_P_ENET0_MDIO_CONN_ENET0_MDIO                 0x06000020
                                SC_P_ENET0_RGMII_TX_CTL_CONN_ENET0_RGMII_TX_CTL 0x06000020
                                SC_P_ENET0_RGMII_TXC_CONN_ENET0_RGMII_TXC       0x06000020
                                SC_P_ENET0_RGMII_TXD0_CONN_ENET0_RGMII_TXD0     0x06000020
                                SC_P_ENET0_RGMII_TXD1_CONN_ENET0_RGMII_TXD1     0x06000020
                                SC_P_ENET0_RGMII_TXD2_CONN_ENET0_RGMII_TXD2     0x06000020
                                SC_P_ENET0_RGMII_TXD3_CONN_ENET0_RGMII_TXD3     0x06000020
                                SC_P_ENET0_RGMII_RXC_CONN_ENET0_RGMII_RXC       0x06000020
                                SC_P_ENET0_RGMII_RX_CTL_CONN_ENET0_RGMII_RX_CTL 0x06000020
                                SC_P_ENET0_RGMII_RXD0_CONN_ENET0_RGMII_RXD0     0x06000020
                                SC_P_ENET0_RGMII_RXD1_CONN_ENET0_RGMII_RXD1     0x06000020
                                SC_P_ENET0_RGMII_RXD2_CONN_ENET0_RGMII_RXD2     0x06000020
                                SC_P_ENET0_RGMII_RXD3_CONN_ENET0_RGMII_RXD3     0x06000020
                                SC_P_ENET0_REFCLK_125M_25M_CONN_ENET0_REFCLK_125M_25M   0x06000020
                                SC_P_PCIE_CTRL0_CLKREQ_B_LSIO_GPIO4_IO27        0x06000021
                                SC_P_PCIE_CTRL1_CLKREQ_B_LSIO_GPIO4_IO30        0x06000021
                                SC_P_PCIE_CTRL1_WAKE_B_LSIO_GPIO4_IO31          0x06000021
                        >;
                };

	};
};

&usdhc1 {
	/delete-property/ iommus;
	pinctrl-names = "default", "state_100mhz", "state_200mhz";
	pinctrl-0 = <&pinctrl_usdhc1>;
	pinctrl-1 = <&pinctrl_usdhc1_100mhz>;
	pinctrl-2 = <&pinctrl_usdhc1_200mhz>;
	bus-width = <8>;
	non-removable;
	status = "okay";
};

/*
&usdhc3 {
        compatible = "fsl,imx8qm-usdhc", "fsl,imx6sl-usdhc";
        interrupt-parent = <&gic>;
        /delete-property/ interrupt-parent;
        reg = <0x0 0x5b030000 0x0 0x10000>;
};*/

&usdhc3 {
	/delete-property/ iommus;
	interrupt-parent = <&gic>;
        pinctrl-names = "default","state_100mhz", "state_200mhz";
        pinctrl-0 = <&pinctrl_usdhc3>, <&pinctrl_usdhc3_gpio>;
        pinctrl-1 = <&pinctrl_usdhc3_100mhz>, <&pinctrl_usdhc3_gpio>;
        pinctrl-2 = <&pinctrl_usdhc3_200mhz>, <&pinctrl_usdhc3_gpio>;
        bus-width = <4>;
        non-removable;
        /* IWG27M: Fixed 1.8v for WIFI due to
         * PMIC ERRATA ER021:VSELECT Incorrect Setpoint */
        vmmc-supply = <&reg_3p3v>;
        wifi-host;
        status = "okay";
        wilc_sdio {
                compatible = "atmel-wilc3000";
                status ="okay";
        };
};

&usbotg1 {
        pinctrl-names = "default";
        pinctrl-0 = <&pinctrl_usbotg1>;
        srp-disable;
        hnp-disable;
        adp-disable;
        otg-pwr-gpio = <&gpio4 3 GPIO_ACTIVE_LOW>;
        dr_mode = "otg";
        power-polarity-active-high;
        disable-over-current;
        status = "okay";
};

&i2c1_lvds1 {
	#address-cells = <1>;
	#size-cells = <0>;
	pinctrl-names = "default";
	pinctrl-0 = <&pinctrl_lvds1_lpi2c1>;
	clock-frequency = <100000>;
	status = "disabled";

	lvds-to-hdmi-bridge@4c {
		compatible = "ite,it6263";
		reg = <0x4c>;

		port {
			it6263_1_in: endpoint {
				clock-lanes = <3>;
				data-lanes = <0 1 2 4>;
				remote-endpoint = <&lvds1_out>;
			};
		};
	};
};

&irqsteer_dsi0 {
	status = "okay";
};

&mipi_dsi_csr1 {
	status = "okay";
};

&mipi_dsi_phy1 {
        status = "okay";
};

&mipi_dsi1 {
	status = "okay";
};

&mipi_dsi_bridge1 {
        status = "okay";

        panel@0 {
                reg = <0>;
		compatible = "raydium,rm67198";
                pinctrl-0 = <&pinctrl_mipi_dsi>;
                reset-gpio = <&gpio0 3 GPIO_ACTIVE_LOW>;
                dsi-lanes = <4>;
                panel-width-mm = <68>;
                panel-height-mm = <121>;
                port {
                        panel1_in: endpoint {
                                remote-endpoint = <&mipi_bridge1_out>;
                        };
                };
        };

        port@1 {
                mipi_bridge1_out: endpoint {
                        remote-endpoint = <&panel1_in>;
                };
        };
};

&i2c2 {
        #address-cells = <1>;
        #size-cells = <0>;
        pinctrl-names = "default";
        pinctrl-0 = <&pinctrl_lpi2c2>;
        clock-frequency = <400000>;
        status = "okay";

        cst148@1a {
                compatible = "hynitron,cst1xx";
                reg = <0x1a>;
                interrupt-parent = <&gpio0>;
                interrupts = <1 2>;
                vdd_ana-supply = <&reg_touch>;
                vcc_i2c-supply = <&reg_touch>;
                hynitron,panel-coords = <0 1080 0 1920>;
                hynitron,display-coords = <0 1080 0 1920>;
                pinctrl-names = "default";
                pinctrl-0 = <&pinctrl_ts_active_iwg27m>;
                hynitron,irq-gpio = <&gpio0 1 0>;
                hynitron,rst-gpio = <&gpio0 10 0>;
                report_type = <1>;
		status = "okay";
        };
/*
        goodix@5d {
                compatible = "goodix,gt1x";
                reg = <0x5d>;
                interrupt-parent = <&gpio0>;
                interrupts = <1 2>;
                vdd_ana-supply = <&reg_touch>;
                vcc_i2c-supply = <&reg_touch>;
                pinctrl-names = "ts_active";
                pinctrl-0 = <&pinctrl_ts_active_iwg27m>;
                goodix,irq-gpio = <&gpio0 1 GPIO_ACTIVE_LOW>;
        };
*/
};
/*
&xen_i2c1 {
        #address-cells = <1>;
        #size-cells = <0>;
        clock-frequency = <400000>;
        status = "okay";

        codec: sgtl5000@0a {
                compatible = "fsl,sgtl5000";
                reg = <0x0a>;
                pinctrl-names = "default";
                pinctrl-0 = <&pinctrl_hp_mic_detect>;
                clocks = <&audioclk 0>;
                VDDA-supply = <&reg_1p8v>;
                VDDIO-supply = <&reg_1p8v>;
                VDDD-supply = <&reg_1p5v>;
                power-domains = <&pd_mclk_out0>;
                hp-det-gpios = <&gpio0 2 GPIO_ACTIVE_LOW>;
                mic-det-gpios = <&gpio0 5 GPIO_ACTIVE_LOW>;
                status = "okay";
        };

        fusb30x@22 {
                compatible = "fairchild,fusb302";
                reg = <0x22>;
                fairchild,int_n = <&gpio0 0 0>;
                pinctrl-names = "default";
                pinctrl-0 = <&pinctrl_type_c>;
                fairchild,cc = <&gpio5 23 0>;
                status = "okay";
        };
};
*/


&i2c1 {
        #address-cells = <1>;
        #size-cells = <0>;
        pinctrl-names = "default";
        pinctrl-0 = <&pinctrl_lpi2c1>;
        clock-frequency = <400000>;
        status = "okay";

        codec: sgtl5000@0a {
                compatible = "fsl,sgtl5000";
                reg = <0x0a>;
                pinctrl-names = "default";
                pinctrl-0 = <&pinctrl_hp_mic_detect>;
                clocks = <&audioclk 0>;
                VDDA-supply = <&reg_1p8v>;
                VDDIO-supply = <&reg_1p8v>;
                VDDD-supply = <&reg_1p5v>;
                power-domains = <&pd_mclk_out0>;
                hp-det-gpios = <&gpio0 2 GPIO_ACTIVE_LOW>;
                mic-det-gpios = <&gpio0 5 GPIO_ACTIVE_LOW>;
                status = "okay";
        };

        fusb30x@22 {
                compatible = "fairchild,fusb302";
                reg = <0x22>;
                fairchild,int_n = <&gpio0 0 0>;
                pinctrl-names = "default";
                pinctrl-0 = <&pinctrl_type_c>;
                fairchild,cc = <&gpio5 23 0>;
                status = "okay";
        };
};

&sai1 {
        pinctrl-names = "default";
        pinctrl-0 = <&pinctrl_sai1>;
	dmas = <&edma25 14 0 1>, <&edma25 15 0 0>;
        assigned-clocks = <&clk IMX8QM_ACM_ESAI0_MCLK_SEL>,
                          <&clk IMX8QM_AUD_PLL0_DIV>,
                          <&clk IMX8QM_AUD_ACM_AUD_PLL_CLK0_DIV>,
                          <&clk IMX8QM_AUD_ACM_AUD_REC_CLK0_DIV>,
                          <&clk IMX8QM_AUD_ESAI_0_EXTAL_IPG>;
        assigned-clock-parents = <&clk IMX8QM_AUD_ACM_AUD_PLL_CLK0_CLK>;
        assigned-clock-rates = <0>, <786432000>, <49152000>, <24576000>, <49152000>;
        status = "okay";
};

&intmux_cm41 {
	status = "okay";
};

&usbotg3 {
	interrupt-parent = <&gic>;
        pinctrl-names = "default";
        pinctrl-0 = <&pinctrl_usbotg3>;
        vusb-supply = <&reg_usb_en>;
        hub-reset-gpio = <&gpio1 21 GPIO_ACTIVE_HIGH>;
        dr_mode = "host";
        status = "okay";
};

&fec1 {
        pinctrl-names = "default";
        pinctrl-0 = <&pinctrl_fec1>;
        phy-mode = "rgmii";
        phy-supply = <&reg_3p3v>;
        phy-handle = <&ethphy0>;
        phy-reset-gpios = <&gpio4 31 GPIO_ACTIVE_LOW>;
        fsl,magic-packet;
        fsl,rgmii_txc_dly;
        fsl,rgmii_rxc_dly;
        fsl,ar8031-phy-fixup;
        fsl,mii-exclusive;
        status = "okay";
	/delete-property/ iommus;

        mdio {
                #address-cells = <1>;
                #size-cells = <0>;
                ethphy0: ethernet-phy@0 {
                        reg = <0x0>;
                        compatible = "ethernet-phy-ieee802.3-c22";
                        interrupts-extended = <&gpio4 27 IRQ_TYPE_LEVEL_LOW>;
                        at803x,led-act-blind-workaround;
                        at803x,eee-disabled;
                        at803x,vddio-1p8v;
                };
        };
};

